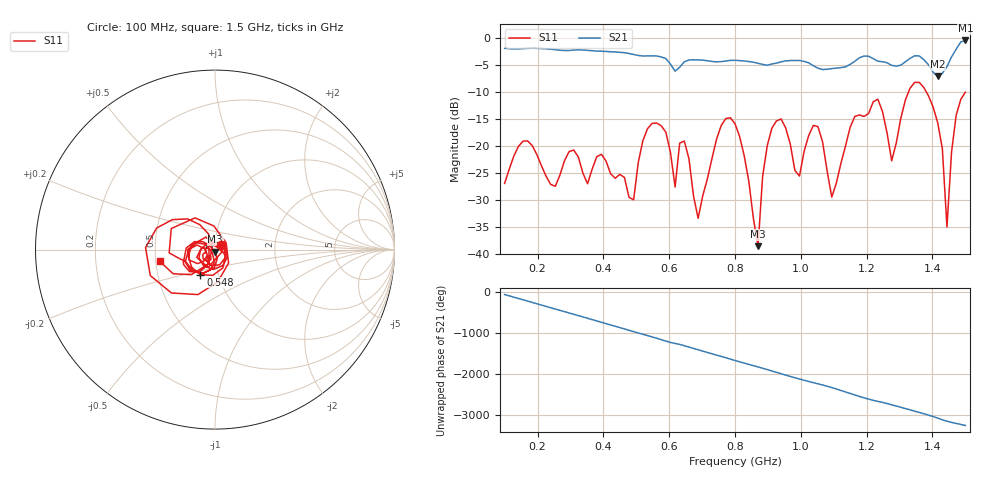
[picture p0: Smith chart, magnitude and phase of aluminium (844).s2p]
! NanoVNA-App
! Date: 2025-09-25 15:01:51
! Start: 100MHz Stop: 1,5GHz Points: 101
! S-Parameter data: F S11 S21 S12 S22
# Hz S RI R 50
!  Frequency  S11_Real  S11_Imag  S21_Real  S21_Imag  S12_Real  S12_Imag  S22_Real  S22_Imag
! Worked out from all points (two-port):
!   101 points, 100 MHz to 1.5 GHz, reference 50 ohm
!   highest |S21| = -0.46 dB at 1.5 GHz (marker M1); lowest = -7.1 dB at 1.416 GHz (marker M2)
!   |S21| within 3 dB of the highest: start of sweep to 571.7 MHz; 1.458 GHz to end of sweep (the widest 2 of 4)
!   lowest |S11| = -38.6 dB at 870 MHz (marker M3), VSWR 1.02, Z = 50 - j1.18 ohm
!   |S11| at or under -10 dB: start of sweep to 1.327 GHz; 1.381 GHz to end of sweep
!   S12 and S22 are empty: the file has one direction only
!   S11 on the Smith chart (normalised r, x): 100 MHz: 1.07, +0.06; 548 MHz: 0.82, -0.23; 1.5 GHz: 0.53, -0.08
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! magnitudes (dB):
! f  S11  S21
! 100 MHz  -27.0  -1.9
! 156 MHz  -19.1  -2.0
! 338 MHz  -25.1  -2.2
! 492 MHz  -30.0  -3.1
! 548 MHz  -15.8  -3.3
! 576 MHz  -16.3  -3.5
! 618 MHz  -27.6  -6.2
! 646 MHz  -19.1  -4.4
! 688 MHz  -33.4  -4.1
! 800 MHz  -15.9  -4.1
! 870 MHz  -38.6  -4.7
! 912 MHz  -16.7  -4.8
! 996 MHz  -25.6  -4.2
! 1.038 GHz  -16.2  -5.1
! 1.094 GHz  -29.5  -5.7
! 1.22 GHz  -11.8  -3.8
! 1.276 GHz  -22.8  -5.1
! 1.346 GHz  -8.2  -3.3
! 1.416 GHz  -15.7  -7.1
! 1.444 GHz  -35.0  -5.3
! 1.472 GHz  -14.3  -2.1
! 1.5 GHz  -10.0  -0.5
